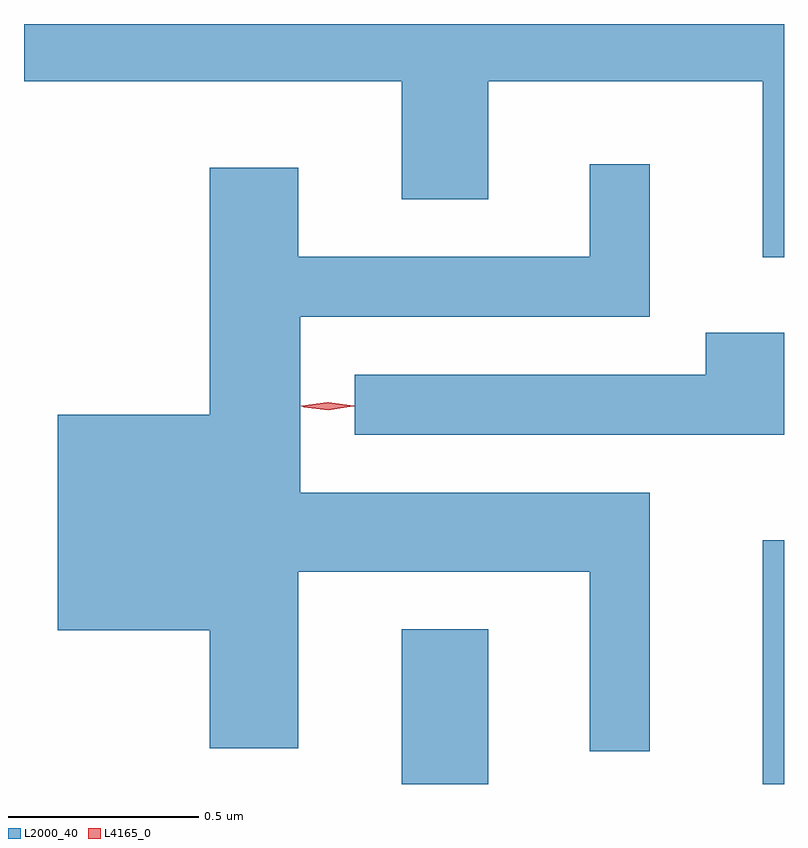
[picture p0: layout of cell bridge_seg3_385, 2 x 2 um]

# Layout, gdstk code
import gdstk
lib = gdstk.Library(unit=1e-6, precision=1e-09)
def R(c, l, rs):  # rectangles x0, y0, x1, y1
    for r in rs: c.add(gdstk.rectangle(r[:2], r[2:], *l))
def P(c, l, *ps):  # polygons
    for p in ps: c.add(gdstk.Polygon(p, *l))
L2000_40 = (2000, 40)
L4165_0 = (4165, 0)

bridge_seg3_385 = lib.new_cell('bridge_seg3_385')
R(bridge_seg3_385, L2000_40, [(665.721,1186.327,665.949,1186.734), (666.671,1186.327,666.727,1186.968)])
P(bridge_seg3_385, L2000_40, [(664.727,1188.176),(665.721,1188.176),(665.721,1187.866),(665.949,1187.866),(665.949,1188.176),(666.671,1188.176),(666.671,1187.713),(666.727,1187.713),(666.727,1188.327),(664.727,1188.327)],
  [(666.374,1187.094),(665.454,1187.094),(665.454,1187.556),(666.374,1187.556),(666.374,1187.958),(666.216,1187.958),(666.216,1187.714),(665.449,1187.714),(665.449,1187.949),(665.216,1187.949),(665.216,1187.299),(664.816,1187.299),(664.816,1186.731),(665.216,1186.731),(665.216,1186.421),(665.449,1186.421),(665.449,1186.886),(666.216,1186.886),(666.216,1186.413),(666.374,1186.413)],
  [(666.727,1187.514),(666.521,1187.514),(666.521,1187.404),(665.598,1187.404),(665.598,1187.246),(666.727,1187.246)])
P(bridge_seg3_385, L4165_0, [(665.526,1187.312),(665.457,1187.321),(665.457,1187.321),(665.457,1187.322),(665.526,1187.331),(665.596,1187.322),(665.596,1187.322),(665.596,1187.321)],
  [(665.528,1187.311),(665.463,1187.319),(665.462,1187.32),(665.463,1187.32),(665.527,1187.331),(665.592,1187.322),(665.593,1187.322),(665.592,1187.321)])

lib.write_gds('bridge_seg3_385.gds')
